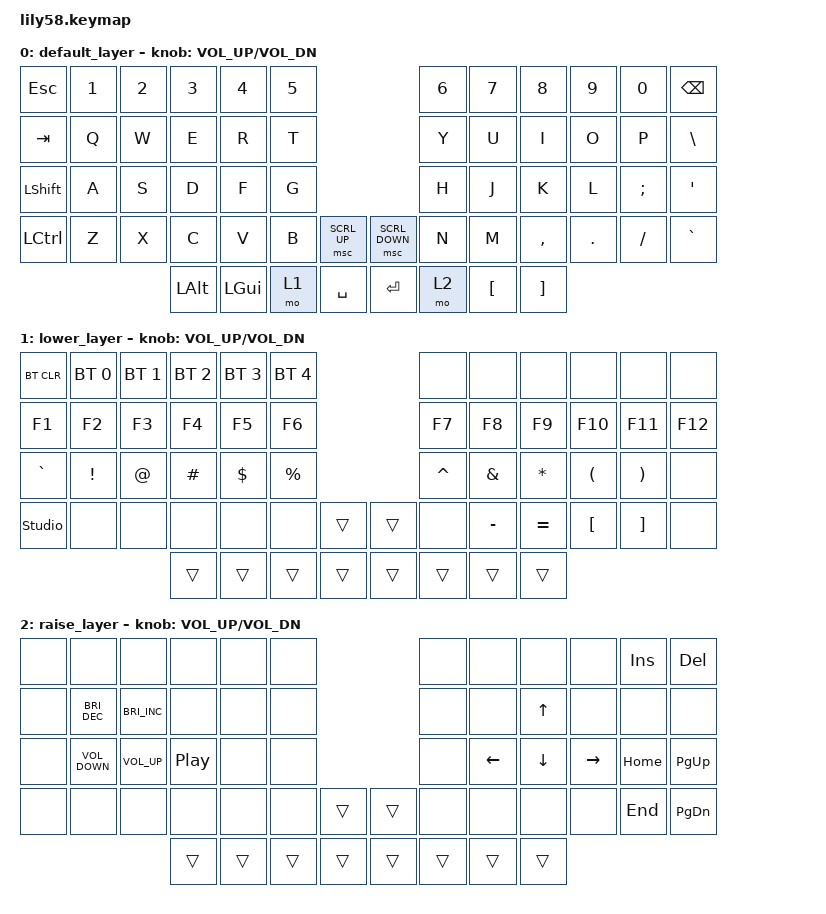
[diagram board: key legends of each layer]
/*
 * Copyright (c) 2020 The ZMK Contributors
 *
 * SPDX-License-Identifier: MIT
 */

#include <behaviors.dtsi>
#include <dt-bindings/zmk/bt.h>
#include <dt-bindings/zmk/keys.h>
#include <dt-bindings/zmk/pointing.h>

/ {
    keymap {
        compatible = "zmk,keymap";

        default_layer {
            // ------------------------------------------------------------------------------------------------------------
            // |  ESC  |  1  |  2  |  3   |  4   |  5   |                   |  6   |  7    |  8    |  9   |   0   |   `   |
            // |  TAB  |  Q  |  W  |  E   |  R   |  T   |                   |  Y   |  U    |  I    |  O   |   P   |   -   |
            // |  CTRL |  A  |  S  |  D   |  F   |  G   |                   |  H   |  J    |  K    |  L   |   ;   |   '   |
            // | SHIFT |  Z  |  X  |  C   |  V   |  B   |   "["  |  |  "]"  |  N   |  M    |  ,    |  .   |   /   | SHIFT |
            //                     | ALT  | GUI  | LOWER|  ENTER |  | SPACE | RAISE| BSPC  | GUI   |

            bindings = <
&kp ESC           &kp N1  &kp N2  &kp N3    &kp N4    &kp N5                                  &kp N6  &kp N7            &kp N8             &kp N9   &kp N0    &kp BACKSPACE
&kp TAB           &kp Q   &kp W   &kp E     &kp R     &kp T                                   &kp Y   &kp U             &kp I              &kp O    &kp P     &kp BACKSLASH
&kp LEFT_SHIFT    &kp A   &kp S   &kp D     &kp F     &kp G                                   &kp H   &kp J             &kp K              &kp L    &kp SEMI  &kp SQT
&kp LEFT_CONTROL  &kp Z   &kp X   &kp C     &kp V     &kp B   &msc SCRL_UP    &msc SCRL_DOWN  &kp N   &kp M             &kp COMMA          &kp DOT  &kp FSLH  &kp GRAVE
                                  &kp LALT  &kp LGUI  &mo 1   &kp SPACE       &kp ENTER       &mo 2   &kp LEFT_BRACKET  &kp RIGHT_BRACKET
            >;

            sensor-bindings = <&inc_dec_kp C_VOL_UP C_VOL_DN>;
        };

        lower_layer {
            // ------------------------------------------------------------------------------------------------------------
            // | BTCLR | BT1 | BT2 |  BT3 |  BT4 |  BT5 |                   |      |       |       |      |       |       |
            // |  F1   |  F2 |  F3 |  F4  |  F5  |  F6  |                   |  F7  |  F8   |  F9   |  F10 |  F11  |  F12  |
            // |   `   |  !  |  @  |  #   |  $   |  %   |                   |  ^   |  &    |  *    |  (   |   )   |   ~   |
            // |       |     |     |      |      |      |        |  |       |      |  _    |  +    |  {   |   }   |  "|"  |
            //                     |      |      |      |        |  |       |      |       |       |

            bindings = <
&bt BT_CLR      &bt BT_SEL 0  &bt BT_SEL 1  &bt BT_SEL 2  &bt BT_SEL 3  &bt BT_SEL 4                    &none      &none      &none         &none             &none              &none
&kp F1          &kp F2        &kp F3        &kp F4        &kp F5        &kp F6                          &kp F7     &kp F8     &kp F9        &kp F10           &kp F11            &kp F12
&kp GRAVE       &kp EXCL      &kp AT        &kp HASH      &kp DOLLAR    &kp PRCNT                       &kp CARET  &kp AMPS   &kp ASTERISK  &kp LPAR          &kp RPAR           &none
&studio_unlock  &none         &none         &none         &none         &none         &trans    &trans  &none      &kp MINUS  &kp EQUAL     &kp LEFT_BRACKET  &kp RIGHT_BRACKET  &none
                                            &trans        &trans        &trans        &trans    &trans  &trans     &trans     &trans
            >;

            sensor-bindings = <&inc_dec_kp C_VOL_UP C_VOL_DN>;
        };

        raise_layer {
            // ------------------------------------------------------------------------------------------------------------
            // |       |     |     |      |      |      |                   |      |       |       |      |       |       |
            // |   `   |  1  |  2  |  3   |  4   |  5   |                   |  6   |   7   |   8   |  9   |   0   |       |
            // |   F1  |  F2 |  F3 |  F4  |  F5  |  F6  |                   |      |   <-  |   v   |  ^   |  ->   |       |
            // |   F7  |  F8 |  F9 |  F10 |  F11 |  F12 |        |  |       |  +   |   -   |   =   |  [   |   ]   |   \   |
            //                     |      |      |      |        |  |       |      |       |       |

            bindings = <
&none  &none                 &none                 &none             &none   &none                     &none   &none     &none     &none      &kp INS   &kp DEL
&none  &kp C_BRIGHTNESS_DEC  &kp C_BRIGHTNESS_INC  &none             &none   &none                     &none   &none     &kp UP    &none      &none     &none
&none  &kp C_VOLUME_DOWN     &kp C_VOLUME_UP       &kp C_PLAY_PAUSE  &none   &none                     &none   &kp LEFT  &kp DOWN  &kp RIGHT  &kp HOME  &kp PAGE_UP
&none  &none                 &none                 &none             &none   &none   &trans    &trans  &none   &none     &none     &none      &kp END   &kp PAGE_DOWN
                                                   &trans            &trans  &trans  &trans    &trans  &trans  &trans    &trans
            >;

            sensor-bindings = <&inc_dec_kp C_VOL_UP C_VOL_DN>;
        };
    };
};
